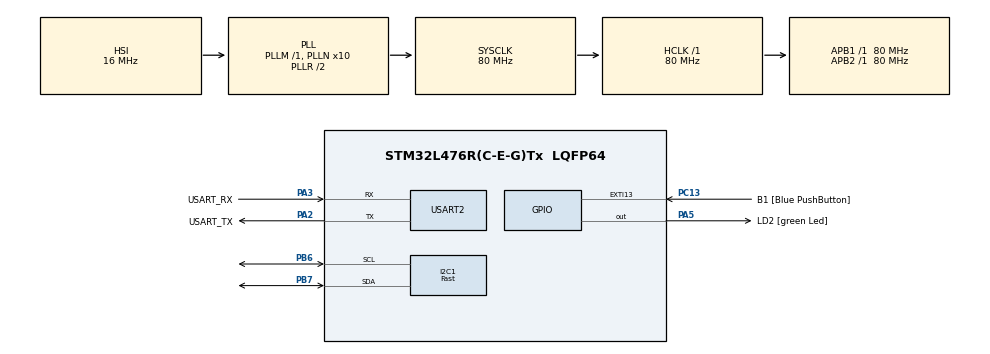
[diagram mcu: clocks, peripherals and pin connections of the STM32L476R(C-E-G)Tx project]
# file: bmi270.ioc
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I2C1.I2C_Speed_Mode=I2C_Fast
I2C1.Timing=0x00F12981
Mcu.Family=STM32L4
Mcu.Name=STM32L476R(C-E-G)Tx
Mcu.Package=LQFP64
NVIC.I2C1_ER_IRQn=true\:0\:0\:false\:false\:true\:true\:true\:true
NVIC.I2C1_EV_IRQn=true\:0\:0\:false\:false\:true\:true\:true\:true
NVIC.PriorityGroup=NVIC_PRIORITYGROUP_4
NVIC.TIM6_DAC_IRQn=true\:15\:0\:false\:false\:true\:false\:true\:true
NVIC.TimeBase=TIM6_DAC_IRQn
NVIC.TimeBaseIP=TIM6
PA13\ (JTMS-SWDIO).GPIO_Label=TMS
PA13\ (JTMS-SWDIO).Mode=Serial_Wire
PA13\ (JTMS-SWDIO).Signal=SYS_JTMS-SWDIO
PA14\ (JTCK-SWCLK).GPIO_Label=TCK
PA14\ (JTCK-SWCLK).Mode=Serial_Wire
PA14\ (JTCK-SWCLK).Signal=SYS_JTCK-SWCLK
PA2.GPIO_Label=USART_TX
PA2.GPIO_Mode=GPIO_MODE_AF_PP
PA2.GPIO_PuPd=GPIO_NOPULL
PA2.GPIO_Speed=GPIO_SPEED_FREQ_VERY_HIGH
PA2.Mode=Asynchronous
PA2.Signal=USART2_TX
PA3.GPIO_Label=USART_RX
PA3.GPIO_Mode=GPIO_MODE_AF_PP
PA3.GPIO_PuPd=GPIO_NOPULL
PA3.GPIO_Speed=GPIO_SPEED_FREQ_VERY_HIGH
PA3.Mode=Asynchronous
PA3.Signal=USART2_RX
PA5.GPIO_Label=LD2 [green Led]
PA5.GPIO_ModeDefaultOutputPP=GPIO_MODE_OUTPUT_PP
PA5.GPIO_PuPd=GPIO_NOPULL
PA5.GPIO_Speed=GPIO_SPEED_FREQ_LOW
PA5.Signal=GPIO_Output
PB3\ (JTDO-TRACESWO).GPIO_Label=SWO
PB3\ (JTDO-TRACESWO).Signal=SYS_JTDO-SWO
PB6.GPIO_Pu=GPIO_PULLUP
PB6.Mode=I2C
PB6.Signal=I2C1_SCL
PB7.GPIO_Pu=GPIO_PULLUP
PB7.Mode=I2C
PB7.Signal=I2C1_SDA
PC13.GPIO_Label=B1 [Blue PushButton]
PC13.GPIO_ModeDefaultEXTI=GPIO_MODE_IT_FALLING
PC13.GPIO_PuPd=GPIO_NOPULL
PC13.Signal=GPXTI13
PC14-OSC32_IN\ (PC14).Mode=LSE-External-Oscillator
PC14-OSC32_IN\ (PC14).Signal=RCC_OSC32_IN
PC15-OSC32_OUT\ (PC15).Mode=LSE-External-Oscillator
PC15-OSC32_OUT\ (PC15).Signal=RCC_OSC32_OUT
PH0-OSC_IN\ (PH0).Signal=RCC_OSC_IN
PH1-OSC_OUT\ (PH1).Signal=RCC_OSC_OUT
ProjectManager.HeapSize=0x200
ProjectManager.StackSize=0x400
ProjectManager.TargetToolchain=STM32CubeIDE
RCC.ADCFreq_Value=64000000
RCC.AHBFreq_Value=80000000
RCC.APB1Freq_Value=80000000
RCC.APB1TimFreq_Value=80000000
RCC.APB2Freq_Value=80000000
RCC.APB2TimFreq_Value=80000000
RCC.CortexFreq_Value=80000000
RCC.HCLKFreq_Value=80000000
RCC.HSE_VALUE=8000000
RCC.HSI_VALUE=16000000
RCC.MSI_VALUE=4000000
RCC.PLLN=10
RCC.PLLSourceVirtual=RCC_PLLSOURCE_HSI
RCC.PREFETCH_ENABLE=1
RCC.SYSCLKFreq_VALUE=80000000
RCC.SYSCLKSource=RCC_SYSCLKSOURCE_PLLCLK
RCC.USBFreq_Value=64000000
RCC.VCOOutputFreq_Value=160000000
USART2.VirtualMode-Asynchronous=VM_ASYNC
VP_SYS_VS_tim6.Mode=TIM6
board=NUCLEO-L476RG

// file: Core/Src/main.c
/* USER CODE BEGIN Header */
/**
 ******************************************************************************
 * @file           : main.c
 * @brief          : Main program body
 ******************************************************************************
 * @attention
 *
 * Copyright (c) 2026 STMicroelectronics.
 * All rights reserved.
 *
 * This software is licensed under terms that can be found in the LICENSE file
 * in the root directory of this software component.
 * If no LICENSE file comes with this software, it is provided AS-IS.
 *
 ******************************************************************************
 */
/* USER CODE END Header */
#include "main.h"

/* USER CODE BEGIN Includes */
#include "bmi270.h"
#include <math.h>
/* USER CODE END Includes */

I2C_HandleTypeDef hi2c1;

UART_HandleTypeDef huart2;

void SystemClock_Config(void);
static void MX_GPIO_Init(void);
static void MX_USART2_UART_Init(void);
static void MX_I2C1_Init(void);
/* USER CODE BEGIN PFP */
//static void print_motion_data(bmi270_data_t data, long acc_mag);
static void print_motion_data_csv(bmi270_data_t data, long acc_mag);
static long calculate_acc_mag(bmi270_data_t data);
static int detect_fall(long acc_mag, uint32_t *last_fall_time_ms, uint8_t fall_state);
/* USER CODE END PFP */

int main(void) {

	/* MCU Configuration--------------------------------------------------------*/

	/* Reset of all peripherals, Initializes the Flash interface and the Systick. */
	HAL_Init();

	/* Configure the system clock */
	SystemClock_Config();

	/* Initialize all configured peripherals */
	MX_GPIO_Init();
	MX_USART2_UART_Init();
	MX_I2C1_Init();
	/* USER CODE BEGIN 2 */
//	printf("-----starting new code execution-----\r\n");

	if (bmi270_init(&hi2c1) == -1) {
		printf("Error, bmi270 failed to initialize\r\n");
		return -1;
	}
	printf("BMI270 init successful \r\n");

	bmi270_init_normal(&hi2c1);

	bmi270_data_t data = {0};
	long acc_mag = 0;
	uint32_t last_data_time_ms = 0;
	uint32_t last_fall_time_ms = 0;
	// 10 msec period aligns with 100 Hz acceleration data rate in bmi270 normal mode.
	uint32_t sample_period = 10;
	// builtin LED turns on for 500 ms after a fall is detected
	uint32_t led_duration = 500;
	// 0 for no fall, 1 for fall
	uint8_t fall_state = 0;

	/* USER CODE END 2 */

	/* Infinite loop */
	/* USER CODE BEGIN WHILE */
	while (1) {
		if ((HAL_GetTick() - last_data_time_ms) >= sample_period) {
			last_data_time_ms = HAL_GetTick();
			bmi270_get_motion_data(&hi2c1, &data);
			acc_mag = calculate_acc_mag(data);
			print_motion_data_csv(data, acc_mag);

			fall_state = detect_fall(acc_mag, &last_fall_time_ms, fall_state);
		}
		if (fall_state == 1) {
			if ((HAL_GetTick() - last_fall_time_ms) >= led_duration) {
				last_fall_time_ms = HAL_GetTick();
				HAL_GPIO_WritePin(GPIOA, GPIO_PIN_5, GPIO_PIN_RESET);
				fall_state = 0;
			}
		}
		/* USER CODE END WHILE */
	}
}

void SystemClock_Config(void) {
	RCC_OscInitTypeDef RCC_OscInitStruct = { 0 };
	RCC_ClkInitTypeDef RCC_ClkInitStruct = { 0 };

	/** Configure the main internal regulator output voltage
	 */
	if (HAL_PWREx_ControlVoltageScaling(PWR_REGULATOR_VOLTAGE_SCALE1)
			!= HAL_OK) {
		Error_Handler();
	}

	/** Initializes the RCC Oscillators according to the specified parameters
	 * in the RCC_OscInitTypeDef structure.
	 */
	RCC_OscInitStruct.OscillatorType = RCC_OSCILLATORTYPE_HSI;
	RCC_OscInitStruct.HSIState = RCC_HSI_ON;
	RCC_OscInitStruct.HSICalibrationValue = RCC_HSICALIBRATION_DEFAULT;
	RCC_OscInitStruct.PLL.PLLState = RCC_PLL_ON;
	RCC_OscInitStruct.PLL.PLLSource = RCC_PLLSOURCE_HSI;
	RCC_OscInitStruct.PLL.PLLM = 1;
	RCC_OscInitStruct.PLL.PLLN = 10;
	RCC_OscInitStruct.PLL.PLLP = RCC_PLLP_DIV7;
	RCC_OscInitStruct.PLL.PLLQ = RCC_PLLQ_DIV2;
	RCC_OscInitStruct.PLL.PLLR = RCC_PLLR_DIV2;
	if (HAL_RCC_OscConfig(&RCC_OscInitStruct) != HAL_OK) {
		Error_Handler();
	}

	/** Initializes the CPU, AHB and APB buses clocks
	 */
	RCC_ClkInitStruct.ClockType = RCC_CLOCKTYPE_HCLK | RCC_CLOCKTYPE_SYSCLK
			| RCC_CLOCKTYPE_PCLK1 | RCC_CLOCKTYPE_PCLK2;
	RCC_ClkInitStruct.SYSCLKSource = RCC_SYSCLKSOURCE_PLLCLK;
	RCC_ClkInitStruct.AHBCLKDivider = RCC_SYSCLK_DIV1;
	RCC_ClkInitStruct.APB1CLKDivider = RCC_HCLK_DIV1;
	RCC_ClkInitStruct.APB2CLKDivider = RCC_HCLK_DIV1;

	if (HAL_RCC_ClockConfig(&RCC_ClkInitStruct, FLASH_LATENCY_4) != HAL_OK) {
		Error_Handler();
	}
}

static void MX_I2C1_Init(void) {

	hi2c1.Instance = I2C1;
	hi2c1.Init.Timing = 0x00F12981;
	hi2c1.Init.OwnAddress1 = 0;
	hi2c1.Init.AddressingMode = I2C_ADDRESSINGMODE_7BIT;
	hi2c1.Init.DualAddressMode = I2C_DUALADDRESS_DISABLE;
	hi2c1.Init.OwnAddress2 = 0;
	hi2c1.Init.OwnAddress2Masks = I2C_OA2_NOMASK;
	hi2c1.Init.GeneralCallMode = I2C_GENERALCALL_DISABLE;
	hi2c1.Init.NoStretchMode = I2C_NOSTRETCH_DISABLE;
	if (HAL_I2C_Init(&hi2c1) != HAL_OK) {
		Error_Handler();
	}

	/** Configure Analogue filter
	 */
	if (HAL_I2CEx_ConfigAnalogFilter(&hi2c1, I2C_ANALOGFILTER_ENABLE)
			!= HAL_OK) {
		Error_Handler();
	}

	/** Configure Digital filter
	 */
	if (HAL_I2CEx_ConfigDigitalFilter(&hi2c1, 0) != HAL_OK) {
		Error_Handler();
	}

}

static void MX_USART2_UART_Init(void) {

	huart2.Instance = USART2;
	huart2.Init.BaudRate = 115200;
	huart2.Init.WordLength = UART_WORDLENGTH_8B;
	huart2.Init.StopBits = UART_STOPBITS_1;
	huart2.Init.Parity = UART_PARITY_NONE;
	huart2.Init.Mode = UART_MODE_TX_RX;
	huart2.Init.HwFlowCtl = UART_HWCONTROL_NONE;
	huart2.Init.OverSampling = UART_OVERSAMPLING_16;
	huart2.Init.OneBitSampling = UART_ONE_BIT_SAMPLE_DISABLE;
	huart2.AdvancedInit.AdvFeatureInit = UART_ADVFEATURE_NO_INIT;
	if (HAL_UART_Init(&huart2) != HAL_OK) {
		Error_Handler();
	}

}

static void MX_GPIO_Init(void) {
	GPIO_InitTypeDef GPIO_InitStruct = { 0 };

	/* GPIO Ports Clock Enable */
	__HAL_RCC_GPIOC_CLK_ENABLE();
	__HAL_RCC_GPIOH_CLK_ENABLE();
	__HAL_RCC_GPIOA_CLK_ENABLE();
	__HAL_RCC_GPIOB_CLK_ENABLE();

	/*Configure GPIO pin Output Level */
	HAL_GPIO_WritePin(LD2_GPIO_Port, LD2_Pin, GPIO_PIN_RESET);

	/*Configure GPIO pin : B1_Pin */
	GPIO_InitStruct.Pin = B1_Pin;
	GPIO_InitStruct.Mode = GPIO_MODE_IT_FALLING;
	GPIO_InitStruct.Pull = GPIO_NOPULL;
	HAL_GPIO_Init(B1_GPIO_Port, &GPIO_InitStruct);

	/*Configure GPIO pin : LD2_Pin */
	GPIO_InitStruct.Pin = LD2_Pin;
	GPIO_InitStruct.Mode = GPIO_MODE_OUTPUT_PP;
	GPIO_InitStruct.Pull = GPIO_NOPULL;
	GPIO_InitStruct.Speed = GPIO_SPEED_FREQ_LOW;
	HAL_GPIO_Init(LD2_GPIO_Port, &GPIO_InitStruct);

}

/* USER CODE BEGIN 4 */
/* USER CODE BEGIN 4 */
int __io_putchar(int ch) {
	HAL_UART_Transmit(&huart2, (uint8_t*) &ch, 1, 0xFFFF);
	return ch;
}

//static void print_motion_data(bmi270_data_t data, long acc_mag) {
//	printf("acc_x: %d acc_y: %d acc_z: %d, ", data.acc_x, data.acc_y, data.acc_z);
//	printf("gyr_x: %d gyr_y: %d gyr_z %d \r\n", data.gyr_x, data.gyr_y, data.gyr_z);
//	printf("acc_mag: %lu", acc_mag);
//}

static void print_motion_data_csv(bmi270_data_t data, long acc_mag) {
	printf("%d,%d,%d,%d,%d,%d,%lu\r\n", data.acc_x, data.acc_y, data.acc_z, data.gyr_x, data.gyr_y, data.gyr_z, acc_mag);
}

static long calculate_acc_mag(bmi270_data_t data) {
	return sqrt(pow((long)data.acc_x, 2) + pow((long)data.acc_y, 2) + pow((long)data.acc_z, 2));
}

static int detect_fall(long acc_mag, uint32_t *last_fall_time_ms, uint8_t fall_state) {
	// bmi270 acc_z reads 4096 when stationary, so this corresponds to g = 9.8 m/s^2
	int32_t g = 4096;
	int32_t fall_threshold = g*3;
	if (fall_state == 1) {
		return 1;
	}
	if (acc_mag > fall_threshold) {
		HAL_GPIO_WritePin(GPIOA, GPIO_PIN_5, GPIO_PIN_SET);
		*last_fall_time_ms = HAL_GetTick();
		return 1;
	}
	return 0;

}

/* USER CODE END 4 */

void HAL_TIM_PeriodElapsedCallback(TIM_HandleTypeDef *htim) {
	if (htim->Instance == TIM6) {
		HAL_IncTick();
	}
}

void Error_Handler(void) {
	__disable_irq();
	while (1) {
	}
}
